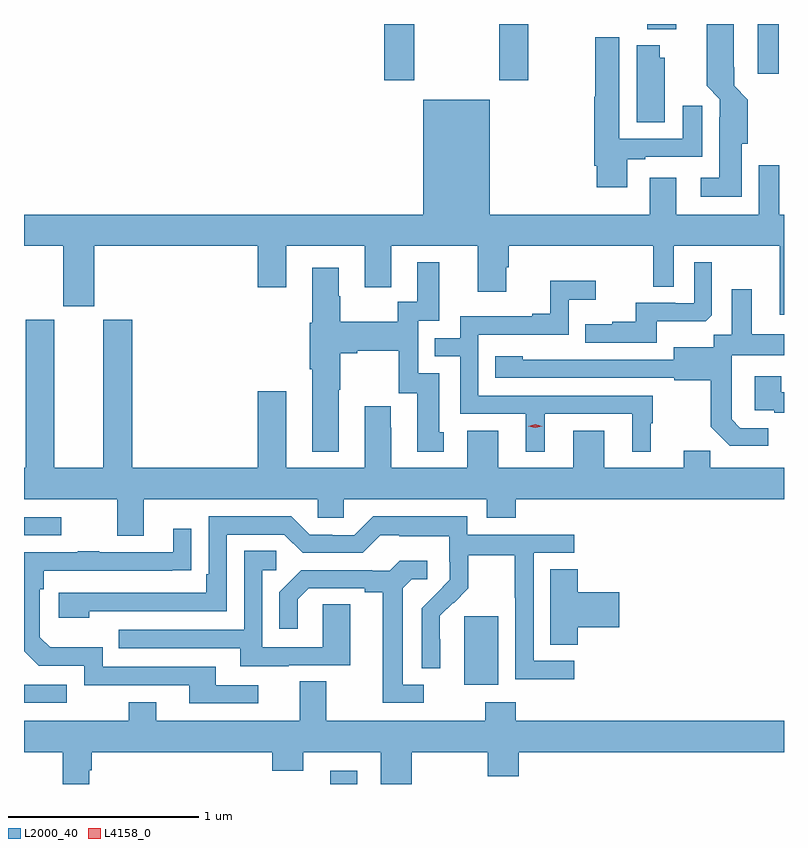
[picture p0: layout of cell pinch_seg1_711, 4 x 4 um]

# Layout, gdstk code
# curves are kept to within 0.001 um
import gdstk
lib = gdstk.Library(unit=1e-6, precision=1e-09)
def R(c, l, rs):  # rectangles x0, y0, x1, y1
    for r in rs: c.add(gdstk.rectangle(r[:2], r[2:], *l))
def P(c, l, *ps):  # polygons
    for p in ps: c.add(gdstk.Polygon(p, *l))
L2000_40 = (2000, 40)
L4158_0 = (4158, 0)

pinch_seg1_711 = lib.new_cell('pinch_seg1_711')
R(pinch_seg1_711, L2000_40, [(677.015,526.256,677.155,526.327), (675.402,526.683,675.628,526.779), (677.72,526.778,677.899,527.139), (675.402,527.565,675.598,527.661), (677.297,529.959,677.457,530.256), (677.902,529.959,678.057,530.256), (679.265,529.995,679.375,530.256), (678.683,530.228,678.835,530.256)])
P(pinch_seg1_711, L2000_40, [(679.18,529.626),(679.211,529.626),(679.211,529.858),(679.139,529.93),(679.138,530.256),(678.996,530.256),(678.995,529.93),(679.065,529.86),(679.065,529.766),(679.061,529.766),(679.061,529.447),(678.963,529.447),(678.963,529.346),(679.18,529.346)],
  [(678.577,529.545),(678.673,529.545),(678.673,529.557),(678.973,529.557),(678.973,529.825),(678.869,529.825),(678.869,529.653),(678.535,529.653),(678.535,530.185),(678.409,530.185),(678.409,529.872),(678.404,529.872),(678.404,529.51),(678.416,529.51),(678.416,529.398),(678.577,529.398)],
  [(678.775,530.079),(678.748,530.079),(678.748,530.143),(678.626,530.143),(678.626,529.738),(678.775,529.738)],
  [(679.402,529.252),(679.378,529.252),(679.378,529.513),(679.269,529.513),(679.269,529.252),(678.835,529.252),(678.835,529.447),(678.695,529.447),(678.695,529.252),(677.854,529.252),(677.854,529.858),(677.504,529.858),(677.504,529.252),(675.402,529.252),(675.402,529.088),(675.608,529.088),(675.608,528.771),(675.772,528.771),(675.772,529.088),(676.631,529.088),(676.631,528.87),(676.783,528.87),(676.783,529.088),(677.195,529.088),(677.195,528.87),(677.335,528.87),(677.335,529.088),(677.789,529.088),(677.789,528.846),(677.941,528.846),(677.941,528.975),(677.954,528.975),(677.954,529.088),(678.714,529.088),(678.714,528.874),(678.822,528.874),(678.822,529.088),(679.379,529.088),(679.379,528.726),(679.402,528.726)],
  [(677.059,528.331),(677.067,528.331),(677.067,528.524),(677.155,528.524),(677.155,528.536),(677.375,528.536),(677.375,528.312),(677.471,528.312),(677.471,528.006),(677.611,528.006),(677.611,528.108),(677.587,528.108),(677.587,528.417),(677.478,528.417),(677.478,528.693),(677.587,528.693),(677.587,529.003),(677.471,529.003),(677.471,528.794),(677.37,528.794),(677.37,528.688),(677.067,528.688),(677.067,528.822),(677.059,528.822),(677.059,528.973),(676.919,528.973),(676.919,528.684),(676.907,528.684),(676.907,528.44),(676.919,528.44),(676.919,528.005),(677.059,528.005)],
  [(678.733,528.692),(678.991,528.692),(679.023,528.723),(679.023,529.003),(678.93,529.003),(678.93,528.786),(678.83,528.786),(678.83,528.789),(678.623,528.789),(678.623,528.688),(678.499,528.688),(678.499,528.676),(678.355,528.676),(678.355,528.579),(678.733,528.579)],
  [(678.142,528.204),(678.602,528.204),(678.602,528.005),(678.7,528.005),(678.7,528.156),(678.712,528.156),(678.712,528.3),(677.793,528.3),(677.793,528.621),(678.27,528.621),(678.27,528.806),(678.412,528.806),(678.412,528.905),(678.172,528.905),(678.172,528.73),(678.077,528.73),(678.077,528.717),(677.697,528.717),(677.697,528.603),(677.563,528.603),(677.563,528.507),(677.697,528.507),(677.697,528.204),(678.044,528.204),(678.044,528.005),(678.142,528.005)],
  [(679.318,528.129),(679.173,528.129),(679.126,528.176),(679.126,528.271),(679.128,528.271),(679.128,528.512),(679.402,528.512),(679.402,528.622),(679.231,528.622),(679.231,528.859),(679.127,528.859),(679.127,528.62),(679.032,528.62),(679.032,528.556),(678.821,528.556),(678.821,528.489),(678.027,528.49),(678.027,528.508),(677.883,528.508),(677.883,528.393),(678.825,528.393),(678.825,528.381),(679.017,528.381),(679.017,528.135),(679.117,528.035),(679.318,528.035)],
  [(676.033,527.756),(676.947,527.756),(676.947,527.658),(677.085,527.658),(677.085,527.756),(677.837,527.756),(677.837,527.657),(677.99,527.657),(677.99,527.756),(679.402,527.756),(679.402,527.92),(679.013,527.92),(679.013,528.011),(678.875,528.011),(678.875,527.92),(678.457,527.92),(678.457,528.115),(678.293,528.115),(678.293,527.92),(677.899,527.92),(677.899,528.115),(677.735,528.115),(677.735,527.92),(677.335,527.92),(677.335,528.131),(677.332,528.131),(677.332,528.244),(677.195,528.244),(677.195,527.92),(676.783,527.92),(676.783,528.322),(676.631,528.322),(676.631,527.92),(675.971,527.92),(675.971,528.699),(675.818,528.699),(675.818,527.92),(675.562,527.92),(675.562,528.699),(675.41,528.699),(675.41,527.92),(675.402,527.92),(675.402,527.756),(675.893,527.756),(675.893,527.562),(676.033,527.562)],
  [(679.402,528.318),(679.387,528.318),(679.387,528.403),(679.247,528.403),(679.247,528.222),(679.351,528.222),(679.351,528.21),(679.402,528.21)],
  [(678.298,526.905),(678.084,526.905),(678.084,527.472),(678.298,527.472),(678.298,527.568),(677.736,527.568),(677.736,527.665),(677.239,527.665),(677.139,527.565),(677.024,527.565),(677.024,527.568),(676.905,527.568),(676.809,527.664),(676.374,527.664),(676.374,527.359),(676.361,527.359),(676.361,527.262),(675.585,527.262),(675.585,527.132),(675.746,527.132),(675.746,527.166),(676.47,527.166),(676.47,527.568),(676.773,527.568),(676.869,527.472),(677.184,527.472),(677.277,527.565),(677.377,527.565),(677.377,527.561),(677.64,527.561),(677.64,527.427),(677.642,527.427),(677.642,527.33),(677.496,527.182),(677.496,526.864),(677.592,526.864),(677.591,527.141),(677.661,527.211),(677.664,527.208),(677.741,527.285),(677.741,527.46),(677.986,527.46),(677.986,527.236),(677.988,527.236),(677.988,526.807),(678.298,526.807)],
  [(676.636,526.776),(676.411,526.776),(676.411,526.872),(675.816,526.872),(675.816,526.975),(675.539,526.975),(675.486,527.028),(675.486,527.282),(675.506,527.282),(675.506,527.379),(676.283,527.38),(676.283,527.599),(676.187,527.599),(676.187,527.475),(675.797,527.475),(675.797,527.48),(675.685,527.48),(675.685,527.475),(675.402,527.475),(675.402,526.956),(675.48,526.878),(675.72,526.878),(675.72,526.776),(676.271,526.776),(676.271,526.68),(676.636,526.68)],
  [(676.795,526.881),(677.119,526.881),(677.119,527.201),(676.974,527.201),(676.974,526.977),(676.656,526.977),(676.656,527.382),(676.729,527.382),(676.729,527.483),(676.56,527.483),(676.56,527.067),(675.901,527.067),(675.901,526.971),(676.541,526.971),(676.541,526.877),(676.795,526.877)],
  [(677.506,526.779),(677.395,526.779),(677.395,527.287),(677.442,527.334),(677.524,527.334),(677.524,527.431),(677.38,527.431),(677.328,527.379),(677.234,527.379),(677.234,527.382),(676.862,527.382),(676.746,527.266),(676.746,527.073),(676.843,527.073),(676.843,527.229),(676.9,527.286),(677.195,527.286),(677.195,527.264),(677.291,527.264),(677.291,526.683),(677.506,526.683)],
  [(678.317,527.081),(678.535,527.081),(678.535,527.264),(678.317,527.264),(678.317,527.387),(678.173,527.387),(678.173,526.99),(678.317,526.99)],
  [(676.873,526.424),(677.279,526.424),(677.279,526.256),(677.443,526.256),(677.443,526.424),(677.843,526.424),(677.843,526.296),(678.007,526.296),(678.007,526.424),(679.402,526.424),(679.402,526.588),(677.99,526.588),(677.99,526.687),(677.83,526.687),(677.83,526.588),(676.993,526.588),(676.993,526.796),(676.853,526.796),(676.853,526.588),(676.099,526.588),(676.099,526.687),(675.952,526.687),(675.952,526.588),(675.402,526.588),(675.402,526.424),(675.605,526.424),(675.605,526.256),(675.745,526.256),(675.745,526.328),(675.758,526.328),(675.758,526.424),(676.709,526.424),(676.709,526.325),(676.873,526.325)])
P(pinch_seg1_711, L4158_0, [(678.093,528.13),(678.057,528.14),(678.057,528.14),(678.057,528.14),(678.093,528.15),(678.129,528.14),(678.129,528.14),(678.129,528.14)])

lib.write_gds('pinch_seg1_711.gds')
